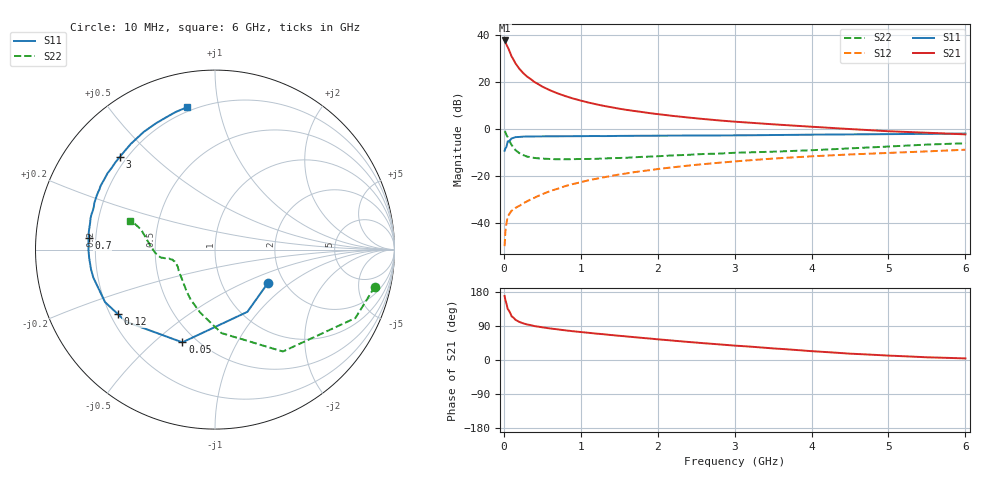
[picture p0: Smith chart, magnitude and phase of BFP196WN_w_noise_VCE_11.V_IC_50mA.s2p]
! Infineon Technologies  Discrete & RF Semiconductors
! BFP196WN
! VCE =  11. V,  IC =  50 mA
! Common Emitter S-Parameters:  Jan 2017
# GHz  S  MA  R  50
!  f  S11  S21  S12  S22
! GHz  MAG  ANG  MAG  ANG  MAG  ANG  MAG  ANG
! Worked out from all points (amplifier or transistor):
!   77 points, 10 MHz to 6 GHz, reference 50 ohm
!   highest |S21| = 37.9 dB at 10 MHz (marker M1)
!   |S21| within 3 dB of that: start of sweep to 52.56 MHz
!   unconditionally stable (mu >= 1): 662.5 MHz to 2.723 GHz
!   at 130 MHz: K = 0.51, MSG = 31.8 dB, |S12| = -34.1 dB
!   at 2.2 GHz: K = 1.02, MAG = 10.1 dB, |S12| = -16.2 dB
!   at 6 GHz: K = 0.89, MSG = 3.3 dB, |S12| = -8.7 dB
!   lowest NFmin = 1.27 dB at 450 MHz
!   S11 on the Smith chart (normalised r, x): 10 MHz: 1.64, -0.70; 50 MHz: 0.42, -0.62; 120 MHz: 0.23, -0.29; 700 MHz: 0.17, +0.05; 3 GHz: 0.17, +0.40; 6 GHz: 0.18, +0.81
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0.01  0.3484 -32.8  78.38 169.0  0.0032 75.4  0.9145 -13.0
0.02  0.3909 -62.5  72.83 158.0  0.0066 69.7  0.8701 -26.0
0.05  0.5479 -109.4  56.68 134.7  0.0136 54.0  0.6823 -56.3
0.1  0.6383 -141.0  35.9 115.5  0.0182 48.1  0.4663 -85.6
0.12  0.6501 -146.6  31.7 112.5  0.0193 47.8  0.4195 -91.6
0.15  0.6789 -154.5  25.64 106.2  0.0209 47.5  0.3604 -103.2
0.2  0.6852 -162.2  19.66 100.6  0.0231 50.0  0.3109 -115.6
0.25  0.6955 -167.0  15.91 96.8  0.0261 52.6  0.2819 -124.0
0.3  0.6993 -170.8  13.36 93.9  0.0289 54.3  0.2613 -131.1
0.4  0.7025 -176.1  10.13 89.4  0.0348 59.8  0.2435 -140.4
0.5  0.7051 -179.8  8.121 86.2  0.0411 62.1  0.2363 -147.0
0.6  0.7057 177.2  6.788 83.3  0.0479 64.5  0.2318 -151.9
0.7  0.7073 174.6  5.815 80.8  0.0538 65.8  0.2282 -155.2
0.9  0.7105 169.9  4.522 75.9  0.0678 66.5  0.2303 -159.3
1.1  0.715 165.9  3.712 71.8  0.0813 67.6  0.2323 -162.7
1.5  0.7205 159.0  2.743 63.9  0.1082 66.5  0.2435 -166.8
2.1  0.7298 149.3  2.012 52.9  0.1478 63.5  0.2709 -169.6
3  0.7406 135.8  1.451 38.0  0.2056 57.0  0.3144 -173.2
3.1  0.7421 134.3  1.414 36.7  0.2117 56.2  0.3178 -173.9
4.1  0.7678 120.0  1.106 22.1  0.2693 48.1  0.3631 176.0
5.1  0.7883 109.1  0.893 10.8  0.3171 40.7  0.4359 164.2
6  0.8081 101.2  0.777 4.2  0.3656 34.7  0.5017 161.2
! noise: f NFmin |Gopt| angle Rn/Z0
0.45  1.27  0.53  -177  0.05
0.9  1.39  0.56  -171  0.05
1.9  2.33  0.69  -148  0.16
2.4  3.05  0.7  -140  0.28
